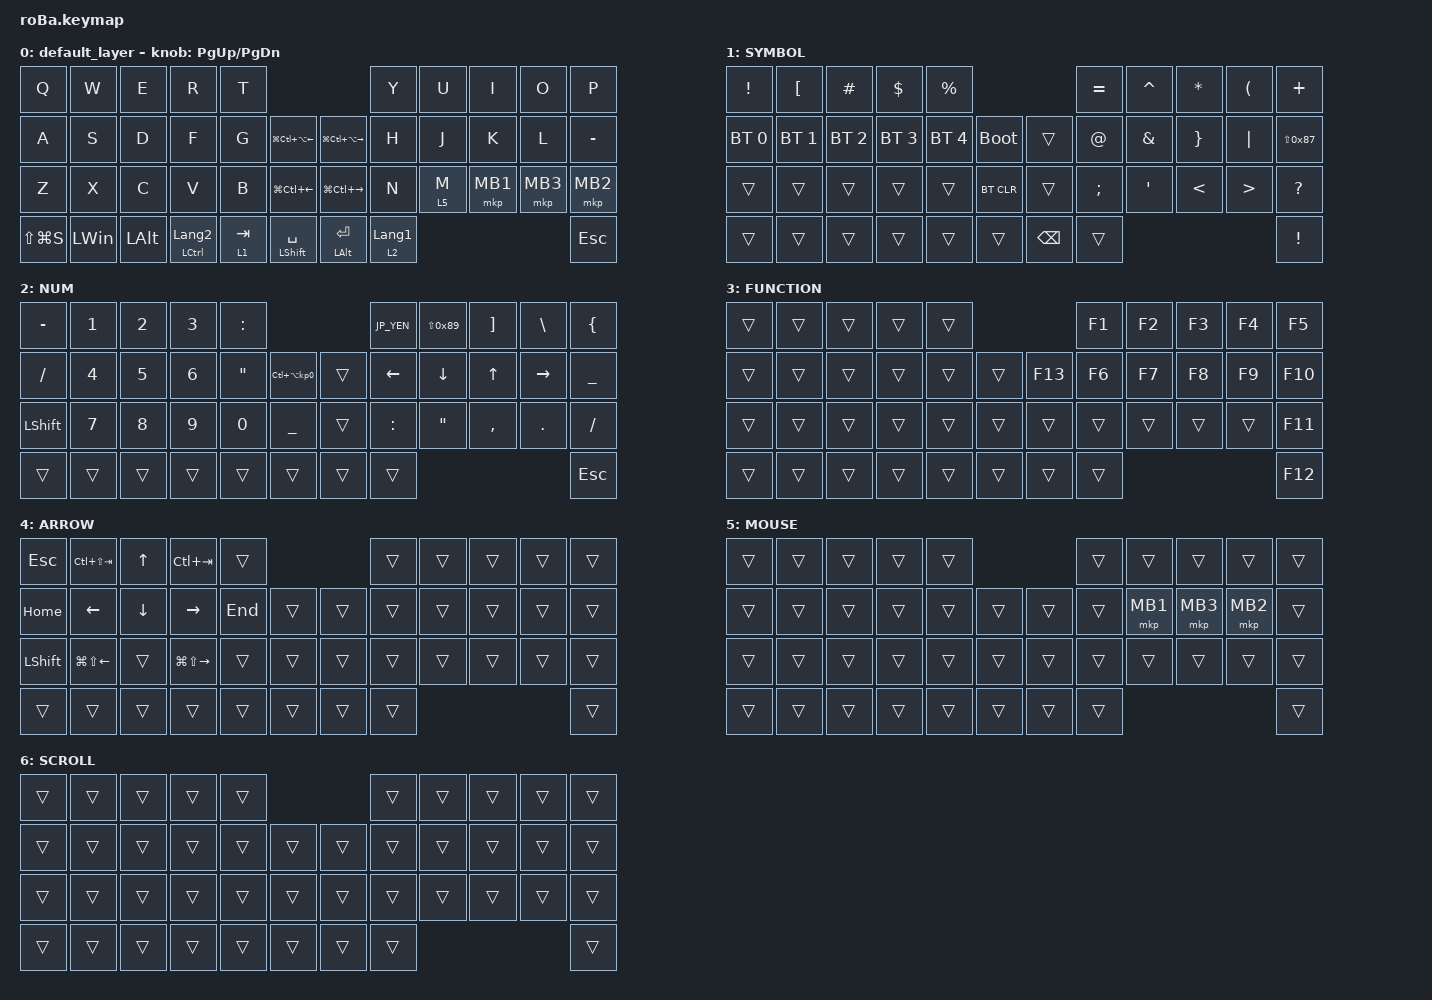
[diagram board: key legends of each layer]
#include <behaviors.dtsi>
#include <dt-bindings/zmk/bt.h>
#include <dt-bindings/zmk/keys.h>
#include <dt-bindings/zmk/pointing.h>

// OS設定を日本語キーボードのまま使用するための変換定義
#define JP_DQUOTE       AT                // "
#define JP_AMPERSAND    CARET             // &
#define JP_QUOTE        AMPERSAND         // '
#define JP_EQUAL        UNDER             // =
#define JP_CARET        EQUAL             // ^
#define JP_YEN          0x89              // ¥
#define JP_PLUS         COLON             // +
#define JP_TILDE        PLUS              // ~
#define JP_PIPE         LS(0x89)          // |
#define JP_AT           LEFT_BRACKET      // @
#define JP_COLON        SINGLE_QUOTE      // :
#define JP_ASTERISK     DOUBLE_QUOTES     // *
#define JP_BACKQUOTE    LEFT_BRACE        // `
#define JP_UNDERSCORE   LS(0x87)          // _
#define JP_LBRACKET     RIGHT_BRACKET     // [
#define JP_RBRACKET     BACKSLASH         // ]
#define JP_LPAREN       ASTERISK          // (
#define JP_RPAREN       LEFT_PARENTHESIS  // )
#define JP_LBRACE       RIGHT_BRACE       // {
#define JP_RBRACE       PIPE              // }
#define JP_KANA         LANGUAGE_1        // かな
#define JP_EISU         LANGUAGE_2        // 英数
#define JP_HANZEN       GRAVE             // 半角/全角

&mt {
    flavor = "balanced";
    quick-tap-ms = <0>;
};

&trackball {
    // レイヤーの順番とかをいじったので整合するかどうか見直す
    //automouse-layer = <4>;

    scroll-layers = <5>;

    // arrows {
    //     layers = <3>;
    //     bindings =
    //         <&kp RIGHT_ARROW>,
    //         <&kp LEFT_ARROW>,
    //         <&kp UP_ARROW>,
    //         <&kp DOWN_ARROW>;
    //     tick = <10>;
    //     wait-ms = <5>;
    //     tap-ms = <5>;
    // };
};

/ {
    macros {
        to_layer_0: to_layer_0 {
            compatible = "zmk,behavior-macro-one-param";
            #binding-cells = <1>;
            bindings = <&to 0 &macro_param_1to1 &kp MACRO_PLACEHOLDER>;
            label = "TO_LAYER_0";
        };
        alt_tab_sticky: alt_tab_sticky {
            compatible = "zmk,behavior-macro";
            label = "ALT_TAB_STICKY";
            #binding-cells = <0>;
            bindings
                = <&macro_press &kp LALT>
                , <&macro_tap &kp TAB>
                , <&macro_wait_time 2000>
                , <&macro_release &kp LALT>
                ;
        };
    };

    behaviors {
        lt_to_layer_0: lt_to_layer_0 {
            compatible = "zmk,behavior-hold-tap";
            label = "LAYER_TAP_TO_0";
            bindings = <&mo>, <&to_layer_0>;

            #binding-cells = <2>;
            tapping-term-ms = <200>;
        };
    };

    keymap {
        compatible = "zmk,keymap";

        default_layer {
            bindings = <
&kp Q      &kp W         &kp E         &kp R                 &kp T                                                    &kp Y             &kp U    &kp I     &kp O     &kp P
&kp A      &kp S         &kp D         &kp F                 &kp G      &kp LG(LC(LA(LEFT_ARROW)))           &kp LG(LC(LA(RIGHT_ARROW)))          &kp H             &kp J    &kp K     &kp L     &kp MINUS
&kp Z      &kp X         &kp C         &kp V                 &kp B      &kp LG(LC(LEFT_ARROW))          &kp LG(LC(RIGHT_ARROW))       &kp N             &lt 5 M  &mkp MB1  &mkp MB3  &mkp MB2
&kp LS(LG(S))  &kp LEFT_WIN  &kp LEFT_ALT  &mt LCTRL JP_EISU  &lt 1 TAB  &mt LEFT_SHIFT SPACE      &mt LEFT_ALT ENTER  &lt 2 JP_KANA                               &kp ESCAPE
            >;

            sensor-bindings = <&inc_dec_kp PG_UP PAGE_DOWN>;
        };

        SYMBOL {
            bindings = <
&kp EXCLAMATION  &kp JP_AT   &kp HASH      &kp DOLLAR    &kp PERCENT                                   &kp JP_CARET          &kp JP_AMPERSAND  &kp JP_LPAREN  &kp JP_RPAREN  &kp JP_TILDE
&bt BT_SEL 0     &bt BT_SEL 1  &bt BT_SEL 2  &bt BT_SEL 3  &bt BT_SEL 4  &bootloader      &trans         &kp JP_DQUOTE      &kp JP_QUOTE        &kp JP_LBRACE        &kp JP_RBRACE        &kp JP_UNDERSCORE
&trans           &trans        &trans        &trans        &trans        &bt BT_CLR       &trans         &kp SEMICOLON      &kp JP_COLON      &kp LT                &kp GT                 &kp QMARK
&trans           &trans        &trans        &trans        &trans        &trans           &kp BACKSPACE  &trans                                                                         &kp EXCLAMATION
            >;
        };

        NUM {
            bindings = <
&kp MINUS       &kp N1  &kp N2  &kp N3  &kp JP_PLUS                                              &kp JP_YEN   &kp JP_PIPE        &kp JP_LBRACKET  &kp JP_RBRACKET  &kp JP_BACKQUOTE
&kp SLASH       &kp N4  &kp N5  &kp N6  &kp JP_ASTERISK     &kp LC(LA(KP_NUMBER_0))      &trans  &kp LEFT_ARROW  &kp DOWN_ARROW  &kp UP_ARROW      &kp RIGHT_ARROW    &kp JP_EQUAL
&kp LEFT_SHIFT  &kp N7  &kp N8  &kp N9  &kp N0  &kp JP_EQUAL                    &trans  &kp JP_PLUS        &kp JP_ASTERISK    &kp COMMA         &kp DOT            &kp SLASH
&trans          &trans           &trans           &trans           &trans           &trans                       &trans  &trans                                                               &kp ESCAPE
            >;
        };

        FUNCTION {
            bindings = <
&trans  &trans  &trans  &trans  &trans                       &kp F1  &kp F2  &kp F3  &kp F4  &kp F5
&trans  &trans  &trans  &trans  &trans  &trans      &kp F13  &kp F6  &kp F7  &kp F8  &kp F9  &kp F10
&trans  &trans  &trans  &trans  &trans  &trans      &trans   &trans  &trans  &trans  &trans  &kp F11
&trans  &trans  &trans  &trans  &trans  &trans      &trans   &trans                          &kp F12
            >;
        };

        ARROW {
            bindings = <
&kp ESCAPE      &kp LC(LS(TAB))         &kp UP_ARROW    &kp LC(TAB)              &trans                       &trans  &trans  &trans  &trans  &trans
&kp HOME        &kp LEFT_ARROW          &kp DOWN_ARROW  &kp RIGHT_ARROW          &kp END  &trans      &trans  &trans  &trans  &trans  &trans  &trans
&kp LEFT_SHIFT  &kp LG(LS(LEFT_ARROW))  &trans          &kp LG(LS(RIGHT_ARROW))  &trans   &trans      &trans  &trans  &trans  &trans  &trans  &trans
&trans          &trans                  &trans          &trans                   &trans   &trans      &trans  &trans                          &trans
            >;

            //sensor-bindings = <&inc_dec_kp LC(PAGE_UP) LC(PAGE_DOWN)>;
        };

        // ゲームレイヤーにする

        MOUSE {
            bindings = <
&trans  &trans  &trans  &trans  &trans                      &trans  &trans    &trans    &trans    &trans
&trans  &trans  &trans  &trans  &trans  &trans      &trans  &trans  &mkp MB1  &mkp MB3  &mkp MB2  &trans
&trans  &trans  &trans  &trans  &trans  &trans      &trans  &trans  &trans    &trans    &trans    &trans
&trans  &trans  &trans  &trans  &trans  &trans      &trans  &trans                                &trans
            >;
        };

        SCROLL {
            bindings = <
&trans  &trans  &trans  &trans  &trans                      &trans  &trans  &trans  &trans  &trans
&trans  &trans  &trans  &trans  &trans  &trans      &trans  &trans  &trans  &trans  &trans  &trans
&trans  &trans  &trans  &trans  &trans  &trans      &trans  &trans  &trans  &trans  &trans  &trans
&trans  &trans  &trans  &trans  &trans  &trans      &trans  &trans                          &trans
            >;
        };
    };
};
